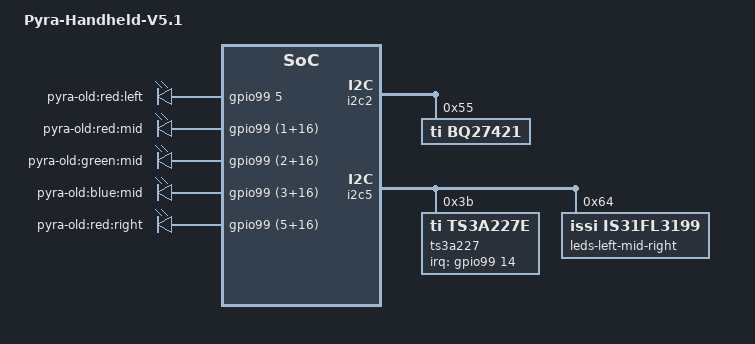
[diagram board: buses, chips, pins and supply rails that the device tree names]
/*
 * Copyright (C) 2015 OpenPandora - http://www.pyra-handheld.com/
 *
 * This program is free software; you can redistribute it and/or modify
 * it under the terms of the GNU General Public License version 2 as
 * published by the Free Software Foundation.
 */

#include "pyra-mainboard.dtsi"

/* overwrite device model */

/ {
	model = "Pyra-Handheld-V5.1";

	pyra_leds { /* alternate LED driver (parallel to is31fl31) */
		compatible = "gpio-leds";
		led@1 {
			label = "pyra-old:red:left";
			gpios = <&gpio99 5 GPIO_OPEN_DRAIN>;
			linux,default-trigger = "none";
			default-state = "off";
		};

		led@4 {
			label = "pyra-old:red:mid";
			gpios = <&gpio99 (1+16) GPIO_OPEN_DRAIN>;
			linux,default-trigger = "none";
			default-state = "off";
		};

		led@5 {
			label = "pyra-old:green:mid";
			gpios = <&gpio99 (2+16) GPIO_OPEN_DRAIN>;
			linux,default-trigger = "none";
			default-state = "off";
		};

		led@6 {
			label = "pyra-old:blue:mid";
			gpios = <&gpio99 (3+16) GPIO_OPEN_DRAIN>;
			linux,default-trigger = "none";
			default-state = "off";
		};

		led@7 {
			label = "pyra-old:red:right";
			gpios = <&gpio99 (5+16) GPIO_OPEN_DRAIN>;
			linux,default-trigger = "none";
			default-state = "off";
		};

	};
};

/* register devices connected to Peripheral-I2C */
&i2c2 {
	/* different fuel gauge */

	/delete-node/ bq27621@55;

	bq27421@55 {
		compatible = "ti,bq27421";
		reg = <0x55>;
	};
};

/* register devices connected to System-I2C */
&i2c5 {
	/* different microphone detect */

	/delete-node/ ts3a225@3b;

	ts3a227@3b {
		compatible = "ti,ts3a227e";
		reg = <0x3b>;
		interrupt-parent = <&gpio99>;
		interrupts = <14 IRQ_TYPE_LEVEL_LOW>;
		ti,micbias = <0>;	/* 2.1V */
	};

	/* different led controller */

	/delete-node/ leds-left-mid@64;
	/delete-node/ leds-right@67;

	leds-left-mid-right@64 {
		compatible = "issi,is31fl3199";
		#address-cells = <1>;
		#size-cells = <0>;
		reg = <0x64>;

		left_led1: red_left@1 {
			label = "pyra:red:left";
			reg = <1>;
			linux,default-trigger = "heartbeat";
		};

		left_led2: green_left@2 {
			label = "pyra:green:left";
			reg = <2>;
			linux,default-trigger = "heartbeat";
		};

		left_led3: blue_left@3 {
			label = "pyra:blue:left";
			reg = <3>;
			linux,default-trigger = "timer";
		};

		mid_led4: red_mid@4 {
			label = "pyra:red:mid";
			reg = <4>;
			linux,default-trigger = "default-on";
		};

		mid_led5: green_mid@5 {
			label = "pyra:green:mid";
			reg = <5>;
			linux,default-trigger = "timer";
		};

		mid_led6: blue_mid@6 {
			label = "pyra:blue:mid";
			reg = <6>;
			linux,default-trigger = "heartbeat";
		};

		right_led7: red_right@7 {
			label = "pyra:red:right";
			reg = <7>;
			linux,default-trigger = "heartbeat";
		};

		right_led8: green_right@8 {
			label = "pyra:green:right";
			reg = <8>;
			linux,default-trigger = "heartbeat";
		};

		right_led9: blue_right@9 {
			label = "pyra:blue:right";
			reg = <9>;
			linux,default-trigger = "timer";
		};
	};
};
